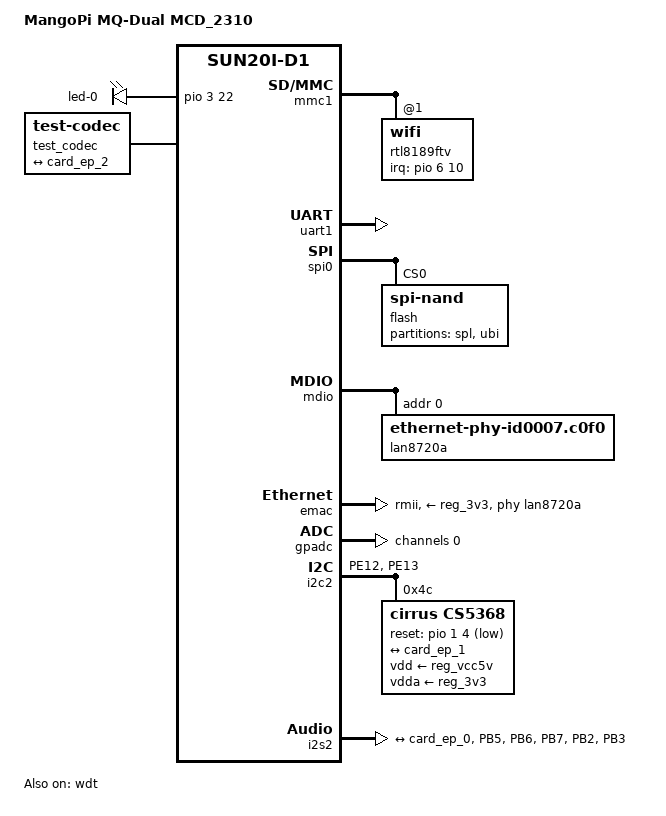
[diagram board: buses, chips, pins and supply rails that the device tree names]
// SPDX-License-Identifier: (GPL-2.0+ or MIT)
// Copyright (C) 2022 Samuel Holland <samuel@sholland.org>

/dts-v1/;

#include <dt-bindings/gpio/gpio.h>
#include "allwinner/sun8i-t113s.dtsi"
#include "allwinner/sunxi-d1s-t113-mangopi-mq-r.dtsi"

/ {
	model = "MangoPi MQ-Dual MCD_2310";
	compatible = "allwinner,sun20i-d1", "allwinner,sun8i";

	aliases {
		serial0 = &uart0;
		serial1 = &uart1;
		serial2 = &uart2;
		serial3 = &uart3;
		ethernet0 = &rtl8189ftv;
	};

	chosen {
		/delete-property/ stdout-path;
	};

	leds {
		led-0 {
			linux,default-trigger = "heartbeat";
			function = LED_FUNCTION_HEARTBEAT;
			gpios = <&pio 3 22 GPIO_ACTIVE_HIGH>; /* PD22 */
		};
	};

	test_codec {
		compatible = "test-codec";
		port {
			test_ep: endpoint {
				remote-endpoint = <&card_ep_2>;
			};
		};
	};

	sound {
		compatible = "audio-graph-card2";
		label = "CS5368";
		links = <&i2s2_port>;
		multi {
			ports {
				#address-cells = <1>;
				#size-cells = <0>;
				convert-channels = <16>;
				port@0 {
					card_ep_0: endpoint {
						remote-endpoint = <&i2s2_ep>;
					};
				};
				port@1 {
					card_ep_1: endpoint {
						remote-endpoint = <&cs5368_ep>;
					};
				};
				port@2 {
					card_ep_2: endpoint {
						remote-endpoint = <&test_ep>;
					};
				};
			};
		};
	};
};

&cpu0 {
	cpu-supply = <&reg_vcc_core>;
};

&cpu1 {
	cpu-supply = <&reg_vcc_core>;
};

&wdt {
	status = "okay";
};

&mmc1 {
	rtl8189ftv: wifi@1 {
		reg = <1>;
		interrupt-parent = <&pio>;
		interrupts = <6 10 IRQ_TYPE_LEVEL_LOW>; /* PG10 = WL_WAKE_AP */
		interrupt-names = "host-wake";
	};
};

&pio {
	i2s2_pins: i2s-pins {
		pins = "PB5", "PB6", "PB7";
		function = "i2s2";
	};

	i2s2_din_pins: i2s-din-pins {
		pins = "PB2", "PB3";
		function = "i2s2_din";
	};

	i2c2_pe12_pins: i2c2-pe12-pins {
		pins = "PE12", "PE13";
		function = "i2c2";
	};
};

&uart1 {
	pinctrl-0 = <&uart1_pg6_pins>;
	pinctrl-names = "default";
	status = "okay";
};

&uart3 {
	status = "disabled";
	/delete-node/ pinctrl-0;
	/delete-node/ pinctrl-names;
};

&spi0 {
	pinctrl-0 = <&spi0_pins>;
	pinctrl-names = "default";
	status = "okay";

	flash@0 {
		compatible = "spi-nand";
		reg = <0>;

		partitions {
			compatible = "fixed-partitions";
			#address-cells = <1>;
			#size-cells = <1>;

			partition@0 {
				label = "spl";
				reg = <0x00000000 0x00080000>;
			};

			partition@100000 {
				label = "ubi";
				reg = <0x00080000 0x0fb00000>;
			};
		};

	};
};

&mdio {
	status = "okay";
	lan8720a: ethernet-phy@0 {
		compatible = "ethernet-phy-id0007.c0f0", "ethernet-phy-ieee802.3-c22";
		reg = <0>;
	};
};

&emac {
	pinctrl-0 = <&rmii_pe_pins>;
	pinctrl-names = "default";
	phy-handle = <&lan8720a>;
	phy-mode = "rmii";
	phy-supply = <&reg_3v3>;
	status = "okay";
};

&gpadc {
	status = "okay";
	channel@0 {
		reg = <0>;
	};
};

&i2c2 {
	pinctrl-0 = <&i2c2_pe12_pins>;
	pinctrl-names = "default";
	status = "okay";
	cs5368: tdm-adc-1@0x4c {
		reg = <0x4c>;
		compatible = "cirrus,cs5368";
		vdd-supply = <&reg_vcc5v>;
		vdda-supply = <&reg_3v3>;
		reset-gpios = <&pio 1 4 GPIO_ACTIVE_LOW>; /* PB4 */
		port {
			cs5368_ep: endpoint {
				dai-tdm-slot-num = <8>;
				dai-tdm-slot-width = <32>;
				remote-endpoint = <&card_ep_1>;
			};
		};
	};
};

&i2s2 {
	pinctrl-0 = <&i2s2_pins>, <&i2s2_din_pins>;
	pinctrl-names = "default";
	status = "okay";
	channel-slots = /bits/ 8 <0 1 2 3 4 5 6 7 0 1 2 3 4 5 6 7>;
	channel-dins = /bits/ 8 <0 0 0 0 0 0 0 0 2 2 2 2 2 2 2 2>;
	i2s2_port: port {
		i2s2_ep: endpoint {
			format = "i2s";
			bitclock-master;
			frame-master;
			mclk-fs = <256>;
			dai-tdm-slot-num = <8>;
			dai-tdm-slot-width = <32>;
			remote-endpoint = <&card_ep_0>;
		};
	};
};
